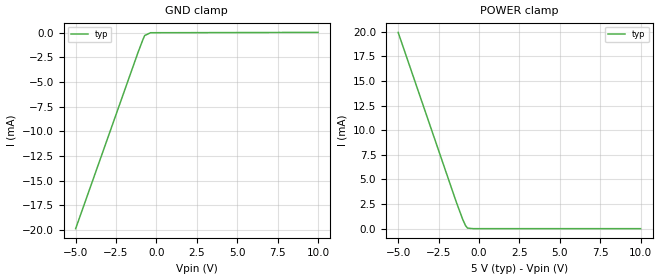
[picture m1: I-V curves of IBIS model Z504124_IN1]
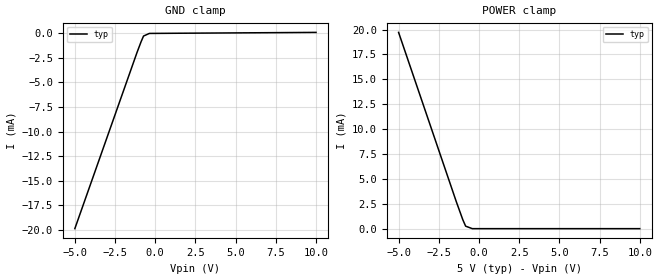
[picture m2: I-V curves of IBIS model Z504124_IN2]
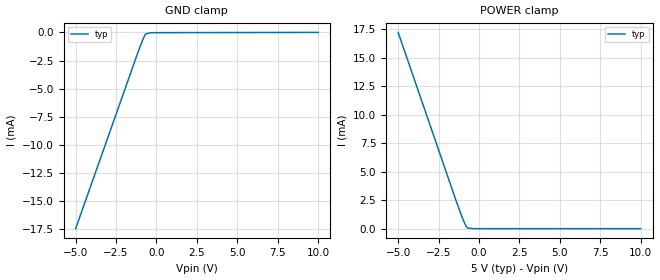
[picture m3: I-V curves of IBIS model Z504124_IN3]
| YOU ARE ONLY AUTHORIZED TO USE THIS SOFTWARE
| ACCORDING TO LICENSOR'S LICENSE RESTRICTIONS.
[IBIS Ver] 3.1
[File Name] mc54hc76j.ibs
[File Rev] 2.0
[Source] Measured and created by ICX Technology
[Date] Friday 7/14/00 9:08:07 AM
[Copyright]
| (C) COPYRIGHT 1993-2000
| MENTOR GRAPHICS CORPORATION
| ICX STANDARD LIBRARY, ICX PROJECT MODELING,
| ICX CUSTOM MODELING, ICX VENDOR MODEL
| ALL RIGHTS RESERVED.
| THE FOLLOWING ARE TRADEMARKS OR SERVICE MARKS OF
| MENTOR GRAPHICS CORPORATION:ICX (R), ICX STANDARD
| LIBRARY(R), ICX PROJECT MODELING(R), ICX CUSTOM
| MODELING(R), qualityIBIS(TM), MODELVIEWER(TM),
| AND MODELEDITOR(TM)
| ALL COPIES OF SOFTWARE, INCLUDING BUT NOT LIMITED TO
| ANY MODIFICATIONS, ENHANCEMENTS OR DERIVATIVE WORKS,
| MUST CONTAIN ALL MENTOR GRAPHICS CORPORATION'S
| NOTICES AND LEGENDS, INCLUDING THOSE EMBEDDED IN
| SOFTWARE AND THOSE AFFIXED TO SOFTWARE MEDIUM
| AND CONTAINER, AS RECEIVED FROM MENTOR GRAPHICS
| CORPORATION.
|  ZAP Model Builder 2.7
[Component] MC54HC76J
[Manufacturer] OnSemiconductor
[Package]
| variable   typ   min   max
R_pkg  .212ohms NA NA
L_pkg  4.758nH NA NA
C_pkg  1.944pF NA NA
[Pin] signal_name  model_name  R_pin  L_pin C_pin
1 _CLK Z504124_IN1 .224 7.258n 2.683p
2 _PRE Z504124_IN2 .216 5.258n 2.19p
3 _CLR Z504124_IN2 .208 3.758n 1.697p
4 J Z504124_IN3 .2 2.758n 1.204p
5 VCC POWER .2 2.758n 1.204p
6 _CLK Z504124_IN1 .208 3.758n 1.697p
7 _PRE Z504124_IN2 .216 5.258n 2.19p
8 _CLR Z504124_IN2 .224 7.258n 2.683p
9 J Z504124_IN3 .224 7.258n 2.683p
10 _Q Z504124_OUT4 .216 5.258n 2.19p
11 Q Z504124_OUT5 .208 3.758n 1.697p
12 K Z504124_IN3 .2 2.758n 1.204p
13 GROUND GND .2 2.758n 1.204p
14 _Q Z504124_OUT4 .208 3.758n 1.697p
15 Q Z504124_OUT5 .216 5.258n 2.19p
16 K Z504124_IN3 .224 7.258n 2.683p
| Models and submodels in the file (5): Z504124_IN1 (Input), Z504124_IN2 (Input), Z504124_IN3 (Input), Z504124_OUT4 (Output), Z504124_OUT5 (Output)
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| (C) COPYRIGHT 1993-2000
| MENTOR GRAPHICS CORPORATION
| ICX STANDARD LIBRARY, ICX PROJECT MODELING,
| ICX CUSTOM MODELING, ICX VENDOR MODEL
| ALL RIGHTS RESERVED.
| THE FOLLOWING ARE TRADEMARKS OR SERVICE MARKS OF
| MENTOR GRAPHICS CORPORATION:ICX (R), ICX STANDARD
| LIBRARY(R), ICX PROJECT MODELING(R), ICX CUSTOM
| MODELING(R), qualityIBIS(TM), MODELVIEWER(TM),
| AND MODELEDITOR(TM)
| ALL COPIES OF SOFTWARE, INCLUDING BUT NOT LIMITED TO
| ANY MODIFICATIONS, ENHANCEMENTS OR DERIVATIVE WORKS,
| MUST CONTAIN ALL MENTOR GRAPHICS CORPORATION'S
| NOTICES AND LEGENDS, INCLUDING THOSE EMBEDDED IN
| SOFTWARE AND THOSE AFFIXED TO SOFTWARE MEDIUM
| AND CONTAINER, AS RECEIVED FROM MENTOR GRAPHICS
| CORPORATION.
| Model Application Version 1.89 2/18/99.
[Model] Z504124_IN1
Model_type Input
Vinl = 1.000V
Vinh = 3.500V
C_comp 4.000pF NA NA
| variable typ   min   max
[Voltage Range] 5.000V NA NA
[GND Clamp Reference] 0.000V NA NA
[POWER Clamp Reference] 5.000V NA NA
[GND Clamp]
-5V       -19.86mA   NA         NA
-1.13V    -1.972mA   NA         NA
-840.6mV  -730.3uA   NA         NA
-728.2mV  -305.6uA   NA         NA
-364.1mV  -21.76uA   NA         NA
10V       11.11uA    NA         NA
[POWER Clamp]
-5V       19.94mA    NA         NA
-1.405V   2.715mA    NA         NA
-1.004V   937.4uA    NA         NA
-830mV    308.8uA    NA         NA
-711mV    59.64uA    NA         NA
-355.5mV  0A         NA         NA
10V       0A         NA         NA
| (C) COPYRIGHT 1993-2000
| MENTOR GRAPHICS CORPORATION
| ICX STANDARD LIBRARY, ICX PROJECT MODELING,
| ICX CUSTOM MODELING, ICX VENDOR MODEL
| ALL RIGHTS RESERVED.
| THE FOLLOWING ARE TRADEMARKS OR SERVICE MARKS OF
| MENTOR GRAPHICS CORPORATION:ICX (R), ICX STANDARD
| LIBRARY(R), ICX PROJECT MODELING(R), ICX CUSTOM
| MODELING(R), qualityIBIS(TM), MODELVIEWER(TM),
| AND MODELEDITOR(TM)
| ALL COPIES OF SOFTWARE, INCLUDING BUT NOT LIMITED TO
| ANY MODIFICATIONS, ENHANCEMENTS OR DERIVATIVE WORKS,
| MUST CONTAIN ALL MENTOR GRAPHICS CORPORATION'S
| NOTICES AND LEGENDS, INCLUDING THOSE EMBEDDED IN
| SOFTWARE AND THOSE AFFIXED TO SOFTWARE MEDIUM
| AND CONTAINER, AS RECEIVED FROM MENTOR GRAPHICS
| CORPORATION.
| Model Application Version 1.89 2/18/99.
[Model] Z504124_IN2
Model_type Input
Vinl = 1.000V
Vinh = 3.500V
C_comp 4.000pF NA NA
| variable typ   min   max
[Voltage Range] 5.000V NA NA
[GND Clamp Reference] 0.000V NA NA
[POWER Clamp Reference] 5.000V NA NA
[GND Clamp]
-5V       -19.87mA   NA         NA
-1.131V   -1.941mA   NA         NA
-878.6mV  -853.6uA   NA         NA
-727.8mV  -278.1uA   NA         NA
-363.9mV  -11.84uA   NA         NA
10V       92.84uA    NA         NA
[POWER Clamp]
-5V       19.71mA    NA         NA
-1.405V   2.684mA    NA         NA
-1.004V   890uA      NA         NA
-830mV    251.9uA    NA         NA
-415mV    0A         NA         NA
10V       0A         NA         NA
| (C) COPYRIGHT 1993-2000
| MENTOR GRAPHICS CORPORATION
| ICX STANDARD LIBRARY, ICX PROJECT MODELING,
| ICX CUSTOM MODELING, ICX VENDOR MODEL
| ALL RIGHTS RESERVED.
| THE FOLLOWING ARE TRADEMARKS OR SERVICE MARKS OF
| MENTOR GRAPHICS CORPORATION:ICX (R), ICX STANDARD
| LIBRARY(R), ICX PROJECT MODELING(R), ICX CUSTOM
| MODELING(R), qualityIBIS(TM), MODELVIEWER(TM),
| AND MODELEDITOR(TM)
| ALL COPIES OF SOFTWARE, INCLUDING BUT NOT LIMITED TO
| ANY MODIFICATIONS, ENHANCEMENTS OR DERIVATIVE WORKS,
| MUST CONTAIN ALL MENTOR GRAPHICS CORPORATION'S
| NOTICES AND LEGENDS, INCLUDING THOSE EMBEDDED IN
| SOFTWARE AND THOSE AFFIXED TO SOFTWARE MEDIUM
| AND CONTAINER, AS RECEIVED FROM MENTOR GRAPHICS
| CORPORATION.
| Model Application Version 1.89 2/18/99.
[Model] Z504124_IN3
Model_type Input
Vinl = 1.000V
Vinh = 3.500V
C_comp 4.000pF NA NA
| variable typ   min   max
[Voltage Range] 5.000V NA NA
[GND Clamp Reference] 0.000V NA NA
[POWER Clamp Reference] 5.000V NA NA
[GND Clamp]
-5V       -17.47mA   NA         NA
-1.133V   -1.714mA   NA         NA
-860.1mV  -690.3uA   NA         NA
-685.3mV  -143.2uA   NA         NA
-342.6mV  -16.23uA   NA         NA
10V       8.621uA    NA         NA
[POWER Clamp]
-5V       17.24mA    NA         NA
-1.407V   2.421mA    NA         NA
-1.005V   865.2uA    NA         NA
-811mV    251.8uA    NA         NA
-710mV    58.1uA     NA         NA
-355mV    0A         NA         NA
10V       0A         NA         NA
